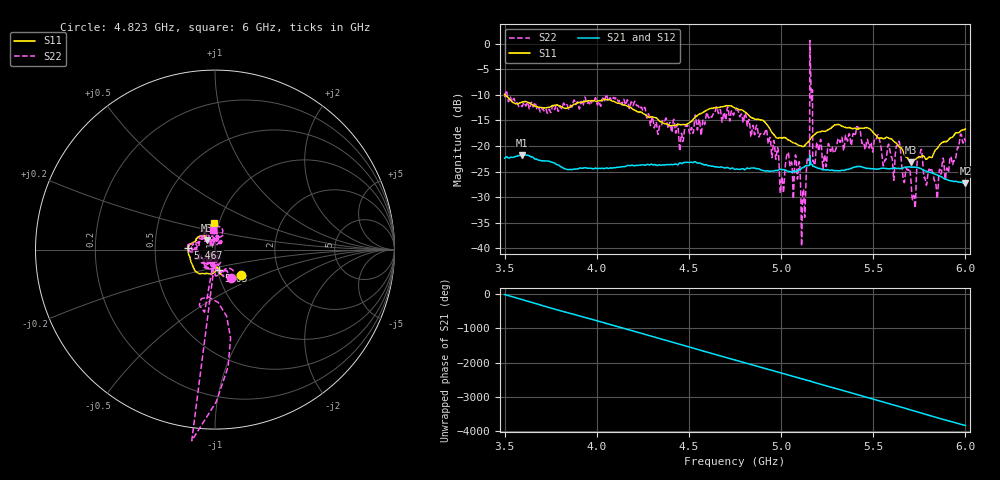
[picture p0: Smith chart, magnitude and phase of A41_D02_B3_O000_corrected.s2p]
! Created with skrf 1.9.0 (http://scikit-rf.org).
# Hz S RI R 50.0
!freq ReS11 ImS11 ReS21 ImS21 ReS12 ImS12 ReS22 ImS22
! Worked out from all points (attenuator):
!   1601 points, 3.5 GHz to 6 GHz, reference 50 ohm
!   highest |S21| = -21.74 dB at 3.592 GHz (marker M1); lowest = -27.3 dB at 6 GHz (marker M2)
!   lowest |S11| = -23.2 dB at 5.703 GHz (marker M3), VSWR 1.15, Z = 45.4 + j4.76 ohm
!   |S11| at or under -10 dB: 3.502 GHz to end of sweep
!   |S22| runs from -39.6 to 0.6 dB; largest |S21 - S12| = 0.00094
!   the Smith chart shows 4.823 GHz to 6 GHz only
!   S11 on the Smith chart (normalised r, x): 4.823 GHz: 1.28, -0.37; 5.03 GHz: 1.02, -0.24; 5.467 GHz: 0.74, +0.02; 6 GHz: 0.95, +0.28
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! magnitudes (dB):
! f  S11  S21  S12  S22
! 3.5 GHz  -9.9  -22.4  -22.4  -10.5
! 3.592 GHz  -11.5  -21.7  -21.7  -12.2
! 3.917 GHz  -11.5  -24.3  -24.3  -11.3
! 4.334 GHz  -15.0  -23.7  -23.7  -17.4
! 4.75 GHz  -12.6  -24.6  -24.5  -13.1
! 4.823 GHz  -14.0  -24.4  -24.4  -14.9
! 4.972 GHz  -18.3  -24.8  -24.7  -22.6
! 5.005 GHz  -18.4  -24.6  -24.6  -26.0
! 5.03 GHz  -18.6  -24.8  -24.8  -22.0
! 5.089 GHz  -19.8  -24.8  -24.8  -26.5
! 5.12 GHz  -20.1  -24.2  -24.1  -28.4
! 5.158 GHz  -18.7  -22.5  -22.4  -1.4
! 5.167 GHz  -18.2  -23.6  -23.6  -10.9
! 5.184 GHz  -17.7  -24.1  -24.0  -23.4
! 5.236 GHz  -17.1  -24.6  -24.6  -21.7
! 5.467 GHz  -16.4  -24.4  -24.3  -18.7
! 5.584 GHz  -18.5  -24.5  -24.4  -19.6
! 5.703 GHz  -23.2  -24.2  -24.1  -26.1
! 5.72 GHz  -22.6  -24.1  -24.1  -29.6
! 5.753 GHz  -22.1  -24.4  -24.3  -21.8
! 5.842 GHz  -20.6  -25.6  -25.5  -28.2
! 6 GHz  -16.7  -27.3  -27.2  -19.1
